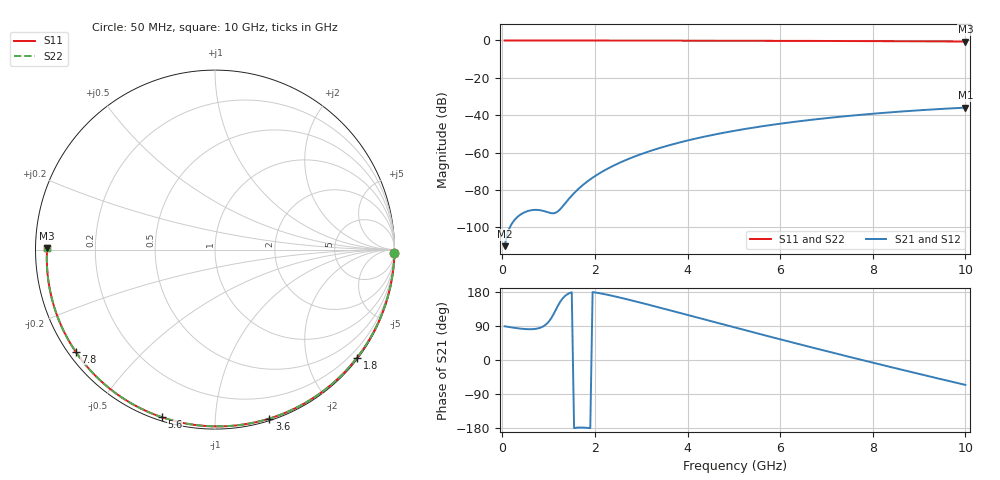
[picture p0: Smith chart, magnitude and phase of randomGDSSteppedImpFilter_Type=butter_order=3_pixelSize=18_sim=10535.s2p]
! freq	dB(S11)	phase(S11)	dB(S12)	phase(S12)
!  dB(S21)	phase(S21)	dB(S22)	phase(S22)
!S-par simulation data
#  GHz  S  DB  R 50
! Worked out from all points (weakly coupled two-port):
!   200 points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, 50 MHz to 10 GHz, reference 50 ohm
!   highest |S21| = -35.96 dB at 10 GHz (marker M1); lowest = -110.1 dB at 50 MHz (marker M2)
!   lowest |S11| = -0.6 dB at 10 GHz (marker M3), VSWR 30.07, Z = 1.66 + j0.196 ohm
!   |S11| at or under -10 dB: nowhere
!   |S22| runs from -0.6 to 0.0 dB; largest |S21 - S12| = 0
!   S11 on the Smith chart (normalised r, x): 50 MHz: open; 1.8 GHz: 0.03, -2.96; 3.6 GHz: 0.02, -1.37; 5.6 GHz: 0.02, -0.73; 7.8 GHz: 0.02, -0.33; 10 GHz: 0.03, +0.00
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0.05  -0.00 -1.1  -110.11 89.0  -110.11 89.0  -0.00 -1.1
0.4  -0.01 -8.4  -93.08 82.7  -93.08 82.7  -0.01 -8.4
0.8  -0.02 -16.8  -90.81 84.3  -90.81 84.3  -0.02 -16.8
1.6  -0.04 -33.2  -80.49 -178.8  -80.49 -178.8  -0.04 -33.2
1.65  -0.04 -34.3  -79.32 -178.3  -79.32 -178.3  -0.04 -34.3
1.75  -0.05 -36.3  -77.17 -178.3  -77.17 -178.3  -0.05 -36.3
1.8  -0.05 -37.3  -76.17 -178.6  -76.17 -178.6  -0.05 -37.3
2.1  -0.06 -43.3  -71.08 176.3  -71.08 176.3  -0.06 -43.3
2.5  -0.07 -51.2  -65.86 165.9  -65.86 165.9  -0.07 -51.2
2.9  -0.08 -59.0  -61.73 154.0  -61.73 154.0  -0.08 -59.0
3.4  -0.09 -68.5  -57.56 138.2  -57.56 138.2  -0.09 -68.5
3.6  -0.10 -72.2  -56.12 131.8  -56.12 131.8  -0.10 -72.2
4.3  -0.12 -85.0  -51.83 109.1  -51.83 109.1  -0.12 -85.0
5.05  -0.15 -98.2  -48.19 84.9  -48.19 84.9  -0.15 -98.2
5.6  -0.18 -107.6  -45.98 67.3  -45.98 67.3  -0.18 -107.6
6.15  -0.21 -116.8  -44.07 49.9  -44.07 49.9  -0.21 -116.8
6.7  -0.24 -125.9  -42.40 32.7  -42.40 32.7  -0.24 -125.9
7.25  -0.29 -134.9  -40.94 15.7  -40.94 15.7  -0.29 -134.9
7.8  -0.33 -143.8  -39.66 -1.0  -39.66 -1.0  -0.33 -143.8
8.35  -0.38 -152.8  -38.53 -17.5  -38.53 -17.5  -0.38 -152.8
9.2  -0.48 -166.8  -37.06 -42.6  -37.06 -42.6  -0.48 -166.8
10  -0.58 179.6  -35.96 -65.7  -35.96 -65.7  -0.58 179.5
